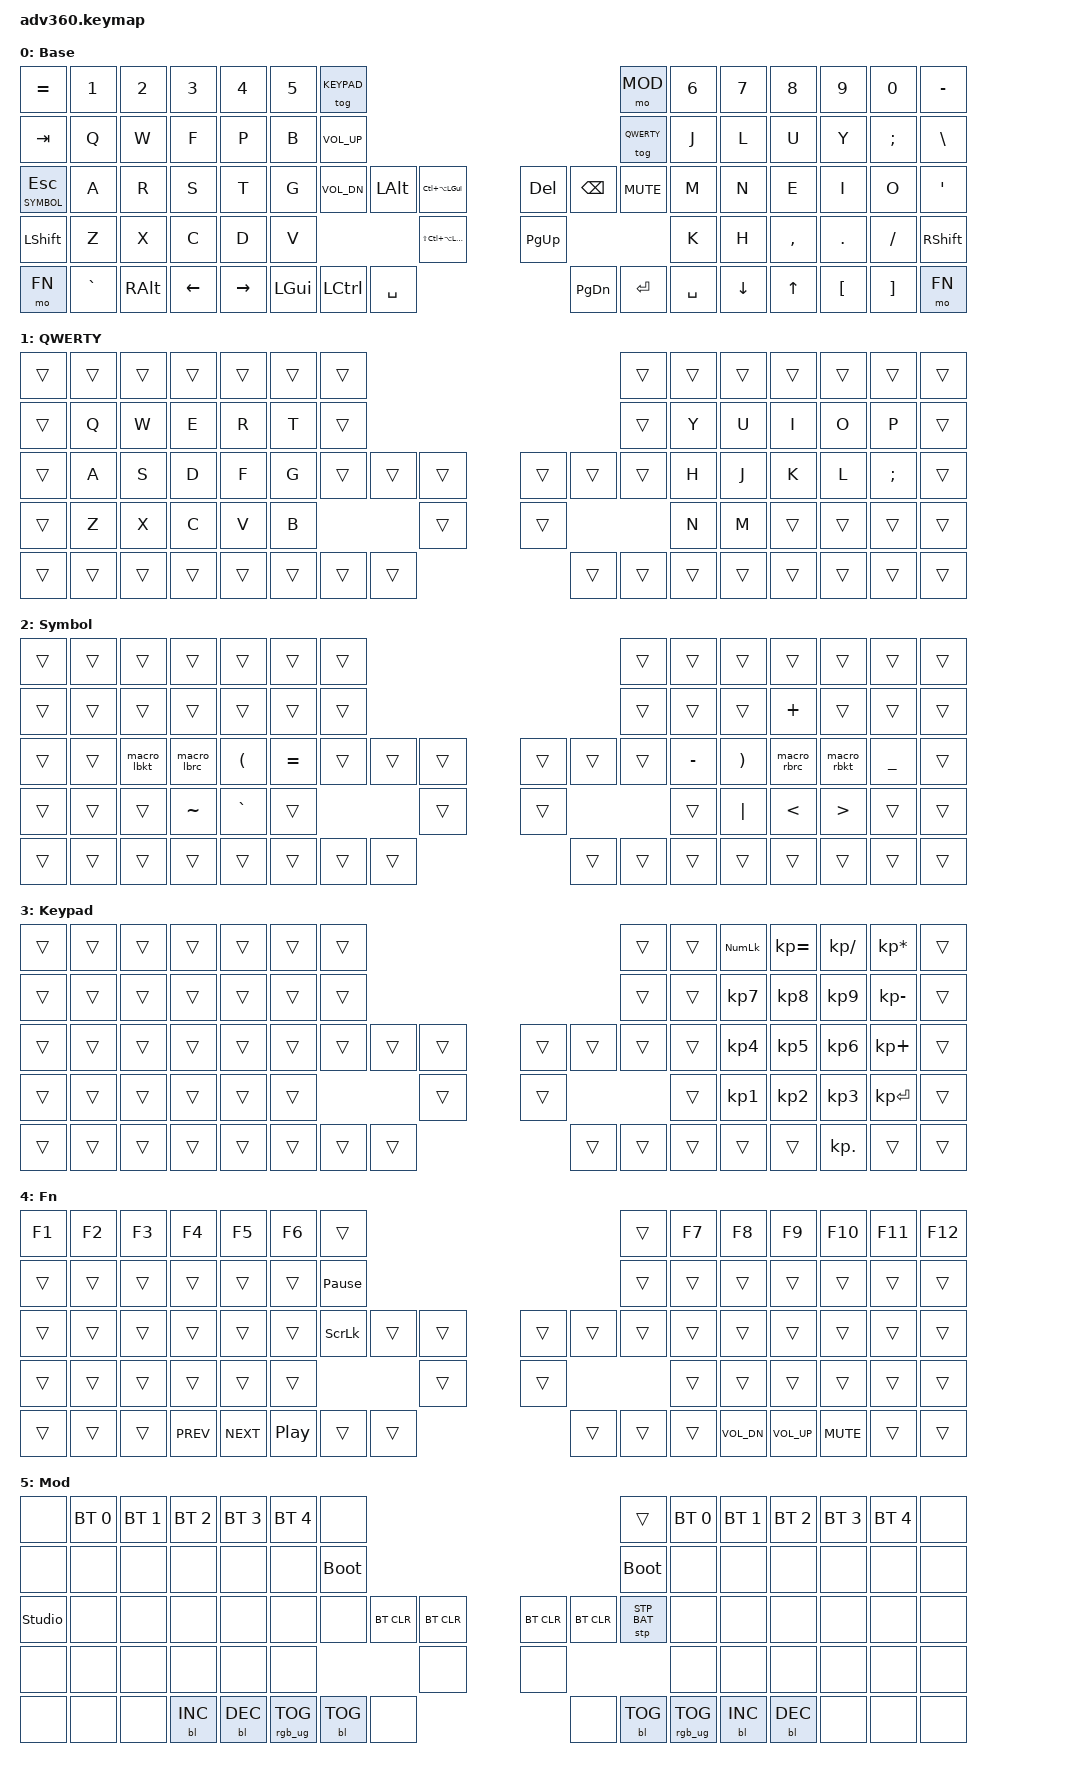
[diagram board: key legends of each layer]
#include <behaviors.dtsi>
#include <dt-bindings/zmk/keys.h>
#include <dt-bindings/zmk/bt.h>
#include <dt-bindings/zmk/rgb.h>
#include <dt-bindings/zmk/stp.h>
#include <dt-bindings/zmk/backlight.h>
#include <dt-bindings/zmk/pointing.h>

#define DEFAULT 0
#define QWERTY  1
#define SYMBOL  2
#define KEYPAD  3
#define FN      4
#define MOD     5

/ {
    behaviors {
      #include "macros.dtsi"
      #include "version.dtsi"

        st: symbol_tap {
            compatible = "zmk,behavior-hold-tap";
            #binding-cells = <2>;
            flavor = "hold-preferred";
            tapping-term-ms = <300>;
            bindings = <&mo>, <&kp>;
            // This must be updated if a new key is added to the symbol layer.
            // This ensures that any other key pressed triggers the tap behavior,
            // rather than the hold behavior. - Aaron, Thu May 23 2024
            hold-trigger-key-positions = <24 30 31 32 33 40 41 42 43 44 49 50 55 56 57>;
        };
    };

    keymap {
      compatible = "zmk,keymap";

      default_layer {
        display-name = "Base";
        bindings = <
          &kp EQUAL      &kp N1    &kp N2   &kp N3   &kp N4    &kp N5 &tog KEYPAD                                                                      &mo MOD     &kp N6 &kp N7   &kp N8    &kp N9   &kp N0   &kp MINUS
          &kp TAB        &kp Q     &kp W    &kp F    &kp P     &kp B  &kp C_VOL_UP                                                                     &tog QWERTY &kp J  &kp L    &kp U     &kp Y    &kp SEMI &kp BSLH
          &st SYMBOL ESC &kp A     &kp R    &kp S    &kp T     &kp G  &kp C_VOL_DN          &kp LALT  &kp LC(LA(LGUI))     &kp DEL   &kp BSPC          &kp C_MUTE  &kp M  &kp N    &kp E     &kp I    &kp O    &kp SQT
          &kp LSHFT      &kp Z     &kp X    &kp C    &kp D     &kp V                                  &kp LS(LC(LA(LGUI))) &kp PG_UP                               &kp K  &kp H    &kp COMMA &kp DOT  &kp FSLH &kp RSHFT
          &mo FN         &kp GRAVE &kp RALT &kp LEFT &kp RIGHT                     &kp LGUI &kp LCTRL &kp SPACE            &kp PG_DN &kp RET &kp SPACE                    &kp DOWN &kp UP    &kp LBKT &kp RBKT &mo FN
           >;
      };

      qwerty {
        display-name = "QWERTY";
        bindings = <
          &trans &trans &trans &trans &trans &trans &trans                                           &trans &trans &trans &trans &trans &trans   &trans
          &trans &kp Q  &kp W  &kp E  &kp R  &kp T  &trans                                           &trans &kp Y  &kp U  &kp I  &kp O  &kp P    &trans
          &trans &kp A  &kp S  &kp D  &kp F  &kp G  &trans        &trans &trans &trans &trans        &trans &kp H  &kp J  &kp K  &kp L  &kp SEMI &trans
          &trans &kp Z  &kp X  &kp C  &kp V  &kp B                       &trans &trans                      &kp N  &kp M  &trans &trans &trans   &trans
          &trans &trans &trans &trans &trans               &trans &trans &trans &trans &trans &trans               &trans &trans &trans &trans   &trans
        >;
      };

      symbol {
        display-name = "Symbol";
        bindings = <
          &trans &trans &trans      &trans      &trans    &trans    &trans                                           &trans &trans    &trans   &trans      &trans      &trans    &trans
          &trans &trans &trans      &trans      &trans    &trans    &trans                                           &trans &trans    &trans   &kp PLUS    &trans      &trans    &trans
          &trans &trans &macro_lbkt &macro_lbrc &kp LPAR  &kp EQUAL &trans        &trans &trans &trans &trans        &trans &kp MINUS &kp RPAR &macro_rbrc &macro_rbkt &kp UNDER &trans
          &trans &trans &trans      &kp TILDE   &kp GRAVE &trans                         &trans &trans                      &trans    &kp PIPE &kp LT      &kp GT      &trans    &trans
          &trans &trans &trans      &trans      &trans                     &trans &trans &trans &trans &trans &trans                  &trans   &trans      &trans      &trans    &trans
        >;
      };

      keypad {
        display-name = "Keypad";
        bindings = <
          &trans &trans &trans &trans &trans &trans &trans                                           &trans &trans &kp KP_NUM &kp KP_EQUAL &kp KP_DIVIDE &kp KP_MULTIPLY &trans
          &trans &trans &trans &trans &trans &trans &trans                                           &trans &trans &kp KP_N7  &kp KP_N8    &kp KP_N9     &kp KP_MINUS    &trans
          &trans &trans &trans &trans &trans &trans &trans        &trans &trans &trans &trans        &trans &trans &kp KP_N4  &kp KP_N5    &kp KP_N6     &kp KP_PLUS     &trans
          &trans &trans &trans &trans &trans &trans                      &trans &trans                      &trans &kp KP_N1  &kp KP_N2    &kp KP_N3     &kp KP_ENTER    &trans
          &trans &trans &trans &trans &trans               &trans &trans &trans &trans &trans &trans               &trans     &trans       &kp KP_DOT    &trans          &trans
        >;
      };

      fn {
        display-name = "Fn";
        bindings = <
          &kp F1 &kp F2 &kp F3 &kp F4     &kp F5     &kp F6 &trans                                                              &trans &kp F7 &kp F8       &kp F9       &kp F10    &kp F11 &kp F12
          &trans &trans &trans &trans     &trans     &trans &kp PAUSE_BREAK                                                     &trans &trans &trans       &trans       &trans     &trans  &trans
          &trans &trans &trans &trans     &trans     &trans &kp SLCK                         &trans &trans &trans &trans        &trans &trans &trans       &trans       &trans     &trans  &trans
          &trans &trans &trans &trans     &trans     &trans                                         &trans &trans                      &trans &trans       &trans       &trans     &trans  &trans
          &trans &trans &trans &kp C_PREV &kp C_NEXT                        &kp C_PLAY_PAUSE &trans &trans &trans &trans &trans               &kp C_VOL_DN &kp C_VOL_UP &kp C_MUTE &trans  &trans
        >;
      };

      mod {
        display-name = "Mod";
        bindings = <
          &none          &bt BT_SEL 0 &bt BT_SEL 1 &bt BT_SEL 2 &bt BT_SEL 3 &bt BT_SEL 4 &none                                                                                   &trans       &bt BT_SEL 0 &bt BT_SEL 1 &bt BT_SEL 2 &bt BT_SEL 3 &bt BT_SEL 4 &none
          &none          &none        &none        &none        &none        &none        &bootloader                                                                             &bootloader  &none        &none        &none        &none        &none        &none
          &studio_unlock &none        &none        &none        &none        &none        &none                       &bt BT_CLR &bt BT_CLR &bt BT_CLR &bt BT_CLR                 &stp STP_BAT &none        &none        &none        &none        &none        &none
          &none          &none        &none        &none        &none        &none                                               &none      &none                                              &none        &none        &none        &none        &none        &none
          &none          &none        &none        &bl BL_INC   &bl BL_DEC                            &rgb_ug RGB_TOG &bl BL_TOG &none      &none      &bl BL_TOG &rgb_ug RGB_TOG                           &bl BL_INC   &bl BL_DEC   &none        &none        &none
        >;
      };
    };
  };
